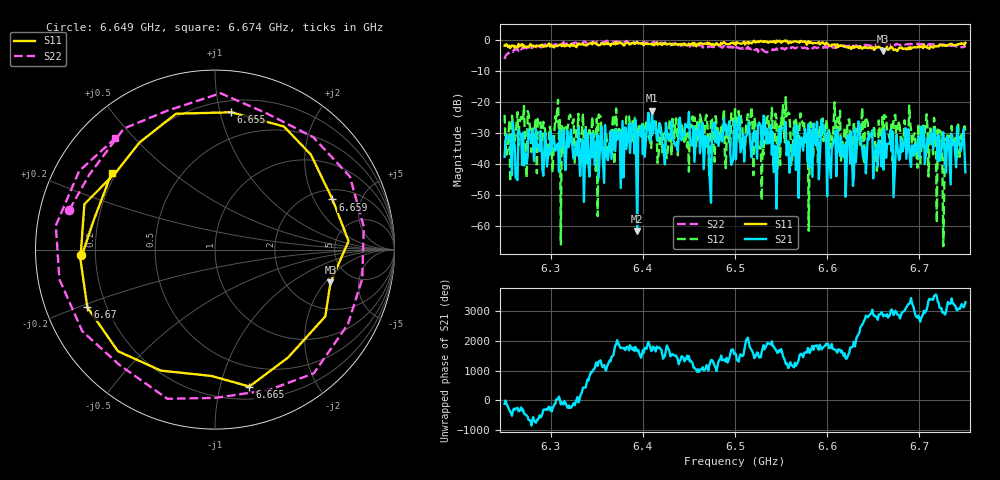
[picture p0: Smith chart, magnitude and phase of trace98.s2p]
# Hz S RI R 50
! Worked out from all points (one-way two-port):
!   401 points, 6.25 GHz to 6.75 GHz, reference 50 ohm
!   highest |S21| = -22.76 dB at 6.41 GHz (marker M1); lowest = -61.7 dB at 6.394 GHz (marker M2)
!   lowest |S11| = -3.5 dB at 6.661 GHz (marker M3), VSWR 5.04, Z = 172 - j114 ohm
!   |S11| at or under -10 dB: nowhere
!   |S22| runs from -6.0 to -0.2 dB; largest |S21 - S12| = 0.12
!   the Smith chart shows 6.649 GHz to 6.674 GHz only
!   S11 on the Smith chart (normalised r, x): 6.649 GHz: 0.14, -0.02; 6.655 GHz: 0.29, +1.08; 6.659 GHz: 2.50, +2.83; 6.665 GHz: 0.31, -1.23; 6.67 GHz: 0.13, -0.21; 6.674 GHz: 0.18, +0.32
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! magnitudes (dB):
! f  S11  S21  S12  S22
! 6.25 GHz  -1.7  -37.7  -24.1  -6.0
! 6.334 GHz  -1.3  -32.0  -29.7  -0.8
! 6.394 GHz  -0.6  -61.7  -32.0  -0.4
! 6.41 GHz  -1.4  -22.8  -29.7  -0.8
! 6.418 GHz  -0.9  -26.7  -34.2  -1.2
! 6.5 GHz  -0.8  -25.9  -22.2  -2.3
! 6.529 GHz  -0.4  -34.6  -51.8  -2.9
! 6.538 GHz  -0.4  -32.8  -31.9  -3.7
! 6.544 GHz  -0.8  -34.2  -23.7  -3.0
! 6.555 GHz  -0.3  -26.5  -18.4  -2.6
! 6.584 GHz  -1.0  -44.2  -37.5  -2.5
! 6.649 GHz  -2.5  -29.1  -29.7  -1.5
! 6.655 GHz  -2.3  -40.8  -38.6  -1.8
! 6.659 GHz  -3.0  -40.8  -33.8  -1.5
! 6.661 GHz  -3.5  -41.8  -40.1  -1.4
! 6.665 GHz  -2.1  -33.6  -29.2  -1.7
! 6.668 GHz  -2.6  -33.5  -31.9  -1.6
! 6.67 GHz  -2.2  -35.9  -27.2  -1.1
! 6.674 GHz  -2.9  -38.7  -24.1  -1.6
! 6.706 GHz  -2.2  -40.1  -29.5  -1.4
! 6.724 GHz  -1.7  -35.3  -29.9  -1.3
! 6.75 GHz  -0.8  -42.7  -29.2  -2.3
